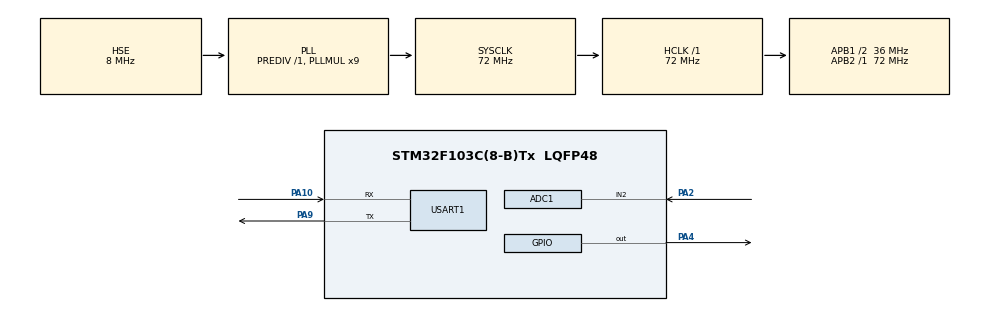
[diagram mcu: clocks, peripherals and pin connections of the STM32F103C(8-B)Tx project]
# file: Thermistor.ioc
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ADC1.Channel-0\#ChannelRegularConversion=ADC_CHANNEL_2
ADC1.ContinuousConvMode=ENABLE
ADC1.NbrOfConversion=1
ADC1.NbrOfConversionFlag=1
ADC1.Rank-0\#ChannelRegularConversion=1
ADC1.SamplingTime-0\#ChannelRegularConversion=ADC_SAMPLETIME_71CYCLES_5
ADC1.master=1
Dma.ADC1.0.Direction=DMA_PERIPH_TO_MEMORY
Dma.ADC1.0.Instance=DMA1_Channel1
Dma.ADC1.0.MemDataAlignment=DMA_MDATAALIGN_HALFWORD
Dma.ADC1.0.MemInc=DMA_MINC_ENABLE
Dma.ADC1.0.Mode=DMA_CIRCULAR
Dma.ADC1.0.PeriphDataAlignment=DMA_PDATAALIGN_HALFWORD
Dma.ADC1.0.PeriphInc=DMA_PINC_DISABLE
Dma.ADC1.0.Priority=DMA_PRIORITY_LOW
Dma.Request0=ADC1
Mcu.Family=STM32F1
Mcu.Name=STM32F103C(8-B)Tx
Mcu.Package=LQFP48
NVIC.DMA1_Channel1_IRQn=true\:0\:0\:false\:false\:true\:false\:true\:true
NVIC.PriorityGroup=NVIC_PRIORITYGROUP_4
PA10.Mode=Asynchronous
PA10.Signal=USART1_RX
PA13.Mode=Serial_Wire
PA13.Signal=SYS_JTMS-SWDIO
PA14.Mode=Serial_Wire
PA14.Signal=SYS_JTCK-SWCLK
PA2.Signal=ADCx_IN2
PA4.GPIO_ModeDefaultOutputPP=GPIO_MODE_OUTPUT_PP
PA4.GPIO_PuPd=GPIO_PULLUP
PA4.GPIO_Speed=GPIO_SPEED_FREQ_HIGH
PA4.PinState=GPIO_PIN_RESET
PA4.Signal=GPIO_Output
PA9.Mode=Asynchronous
PA9.Signal=USART1_TX
PD0-OSC_IN.Mode=HSE-External-Oscillator
PD0-OSC_IN.Signal=RCC_OSC_IN
PD1-OSC_OUT.Mode=HSE-External-Oscillator
PD1-OSC_OUT.Signal=RCC_OSC_OUT
ProjectManager.HeapSize=0x200
ProjectManager.StackSize=0x400
ProjectManager.TargetToolchain=MDK-ARM V5.32
RCC.ADCPresc=RCC_ADCPCLK2_DIV6
RCC.AHBFreq_Value=72000000
RCC.APB1CLKDivider=RCC_HCLK_DIV2
RCC.APB1Freq_Value=36000000
RCC.APB1TimFreq_Value=72000000
RCC.APB2Freq_Value=72000000
RCC.APB2TimFreq_Value=72000000
RCC.HCLKFreq_Value=72000000
RCC.PLLMUL=RCC_PLL_MUL9
RCC.PLLSourceVirtual=RCC_PLLSOURCE_HSE
RCC.SYSCLKFreq_VALUE=72000000
RCC.SYSCLKSource=RCC_SYSCLKSOURCE_PLLCLK
RCC.USBFreq_Value=72000000
SH.ADCx_IN2.0=ADC1_IN2,IN2
USART1.VirtualMode=VM_ASYNC
VP_ADC1_Vref_Input.Mode=IN-Vrefint
board=custom

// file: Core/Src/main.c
/* USER CODE BEGIN Header */
/**
  ******************************************************************************
  * @file           : main.c
  * @brief          : Main program body
  ******************************************************************************
  * @attention
  *
  * Copyright (c) 2026 STMicroelectronics.
  * All rights reserved.
  *
  * This software is licensed under terms that can be found in the LICENSE file
  * in the root directory of this software component.
  * If no LICENSE file comes with this software, it is provided AS-IS.
  *
  ******************************************************************************
  */
/* USER CODE END Header */
#include "main.h"
#include "adc.h"
#include "dma.h"
#include "usart.h"
#include "gpio.h"

/* USER CODE BEGIN Includes */
#include <stdint.h>
#include <stdio.h>
#include <string.h>
#include <stdlib.h>
#include "math.h"
/* USER CODE END Includes */

/* USER CODE BEGIN PD */

/* USER CODE END PM */

void SystemClock_Config(void);

/* USER CODE BEGIN 0 */
float ADC2Resistance(uint32_t adc_value)
{
  return (adc_value / (4096.0f - adc_value)) * 10000.0f;
}
/**
 * @brief 通过NTC电阻反推温度
 *
 * @param R1 NTC电阻值
 * @retval 返回温度，float类型，单位摄氏度
 */
float resistance2Temperature(float R1)
{
  float B = 3950.0f;
  float R2 = 10000.0f;
  float T2 = 25.0f;
  return (1.0 / ((1.0 / B) * log(R1 / R2) + (1.0 / (T2 + 273.15))) - 273.15);
}
/* USER CODE END 0 */

int main(void)
{

  /* MCU Configuration--------------------------------------------------------*/

  /* Reset of all peripherals, Initializes the Flash interface and the Systick. */
  HAL_Init();

  /* Configure the system clock */
  SystemClock_Config();

  /* Initialize all configured peripherals */
  MX_GPIO_Init();
  MX_DMA_Init();
  MX_ADC1_Init();
  MX_USART1_UART_Init();
  /* USER CODE BEGIN 2 */
	char send_buf[100] = {0};
	volatile uint16_t adc_result = 0;
  float ntc_resistance = 0.0f;
  float temperature = 0.0f;

  // 【F1专属必加代码】：ADC 启动前必须先校准，否则数值会飘！
  HAL_ADCEx_Calibration_Start(&hadc1);

  // 校准完成后，再开启带 DMA 的 ADC 连续转换
  HAL_ADC_Start_DMA(&hadc1, (uint32_t*)&adc_result, 1);
  /* USER CODE END 2 */

  /* Infinite loop */
  /* USER CODE BEGIN WHILE */

  while (1)
  {
 // 这里和 F4 的代码一模一样
    ntc_resistance = ADC2Resistance(adc_result);
    temperature = resistance2Temperature(ntc_resistance);

    sprintf(send_buf, "阻值: %.1f Ω, 温度: %.2f ℃\r\n", ntc_resistance, temperature);
    HAL_UART_Transmit(&huart1, (uint8_t *)send_buf, strlen(send_buf), 10);

    HAL_Delay(1000);
    /* USER CODE END WHILE */

  }
}

void SystemClock_Config(void)
{
  RCC_OscInitTypeDef RCC_OscInitStruct = {0};
  RCC_ClkInitTypeDef RCC_ClkInitStruct = {0};
  RCC_PeriphCLKInitTypeDef PeriphClkInit = {0};

  /** Initializes the RCC Oscillators according to the specified parameters
  * in the RCC_OscInitTypeDef structure.
  */
  RCC_OscInitStruct.OscillatorType = RCC_OSCILLATORTYPE_HSE;
  RCC_OscInitStruct.HSEState = RCC_HSE_ON;
  RCC_OscInitStruct.HSEPredivValue = RCC_HSE_PREDIV_DIV1;
  RCC_OscInitStruct.HSIState = RCC_HSI_ON;
  RCC_OscInitStruct.PLL.PLLState = RCC_PLL_ON;
  RCC_OscInitStruct.PLL.PLLSource = RCC_PLLSOURCE_HSE;
  RCC_OscInitStruct.PLL.PLLMUL = RCC_PLL_MUL9;
  if (HAL_RCC_OscConfig(&RCC_OscInitStruct) != HAL_OK)
  {
    Error_Handler();
  }

  /** Initializes the CPU, AHB and APB buses clocks
  */
  RCC_ClkInitStruct.ClockType = RCC_CLOCKTYPE_HCLK|RCC_CLOCKTYPE_SYSCLK
                              |RCC_CLOCKTYPE_PCLK1|RCC_CLOCKTYPE_PCLK2;
  RCC_ClkInitStruct.SYSCLKSource = RCC_SYSCLKSOURCE_PLLCLK;
  RCC_ClkInitStruct.AHBCLKDivider = RCC_SYSCLK_DIV1;
  RCC_ClkInitStruct.APB1CLKDivider = RCC_HCLK_DIV2;
  RCC_ClkInitStruct.APB2CLKDivider = RCC_HCLK_DIV1;

  if (HAL_RCC_ClockConfig(&RCC_ClkInitStruct, FLASH_LATENCY_2) != HAL_OK)
  {
    Error_Handler();
  }
  PeriphClkInit.PeriphClockSelection = RCC_PERIPHCLK_ADC;
  PeriphClkInit.AdcClockSelection = RCC_ADCPCLK2_DIV6;
  if (HAL_RCCEx_PeriphCLKConfig(&PeriphClkInit) != HAL_OK)
  {
    Error_Handler();
  }
}

void Error_Handler(void)
{
  __disable_irq();
  while (1)
  {
  }
}
